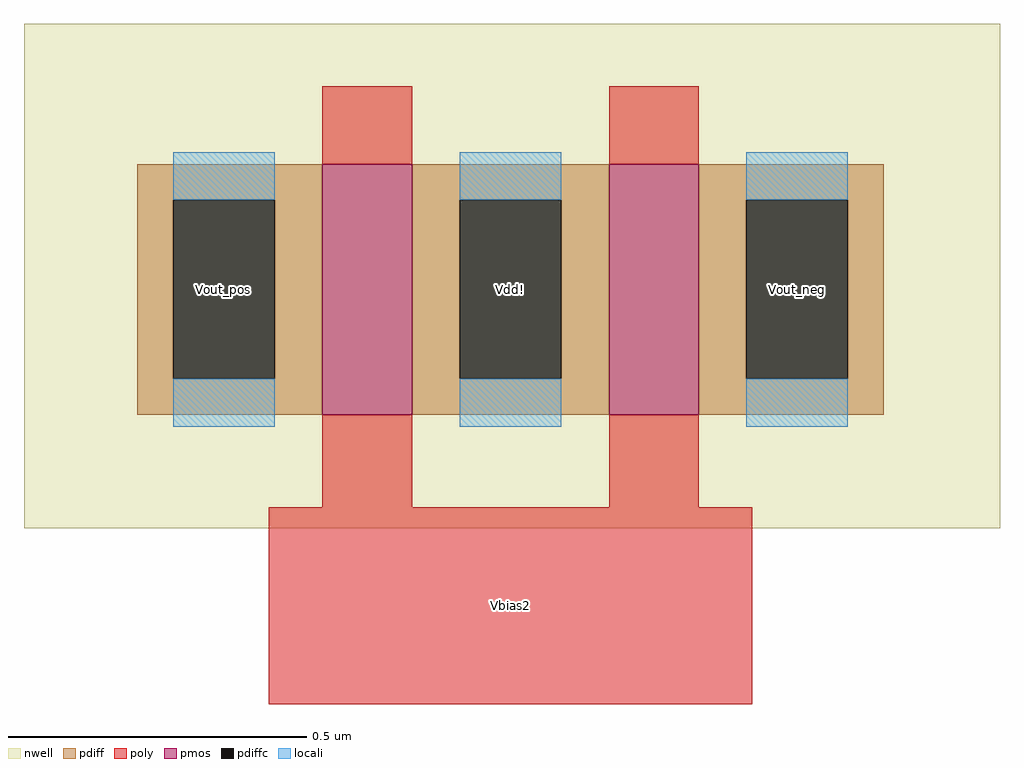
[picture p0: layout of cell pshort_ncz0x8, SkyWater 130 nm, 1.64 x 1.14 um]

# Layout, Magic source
magic
tech sky130A
magscale 1 2
<< nwell >>
rect -163 -80 164 89
<< pmos >>
rect -63 -42 -33 42
rect 33 -42 63 42
<< pdiff >>
rect -125 30 -63 42
rect -125 -30 -113 30
rect -79 -30 -63 30
rect -125 -42 -63 -30
rect -33 30 33 42
rect -33 -30 -17 30
rect 17 -30 33 30
rect -33 -42 33 -30
rect 63 30 125 42
rect 63 -30 79 30
rect 113 -30 125 30
rect 63 -42 125 -30
<< pdiffc >>
rect -113 -30 -79 30
rect -17 -30 17 30
rect 79 -30 113 30
<< poly >>
rect -63 42 -33 68
rect 33 42 63 68
rect -63 -73 -33 -42
rect 33 -73 63 -42
rect -81 -139 81 -73
<< locali >>
rect -113 30 -79 46
rect -113 -46 -79 -30
rect -17 30 17 46
rect -17 -46 17 -30
rect 79 30 113 46
rect 79 -46 113 -30
<< labels >>
rlabel pdiffc -17 -30 17 30 1 Vdd!
rlabel pdiffc -113 -30 -79 30 1 Vout_pos
rlabel pdiffc 79 -30 113 30 1 Vout_neg
rlabel poly -81 -139 81 -73 1 Vbias2
<< properties >>
string gencell pshort
string parameters w 0.42 l 0.15 m 1 nf 2 diffcov 100 polycov 100 guard 0 glc 1 grc 1 gtc 1 gbc 1 tbcov 100 rlcov 100 topc 1 botc 1 poverlap 0 doverlap 1 lmin 0.15 wmin 0.42 compatible {pshort plowvt phighvt phv} full_metal 1
string library sky130
<< end >>
